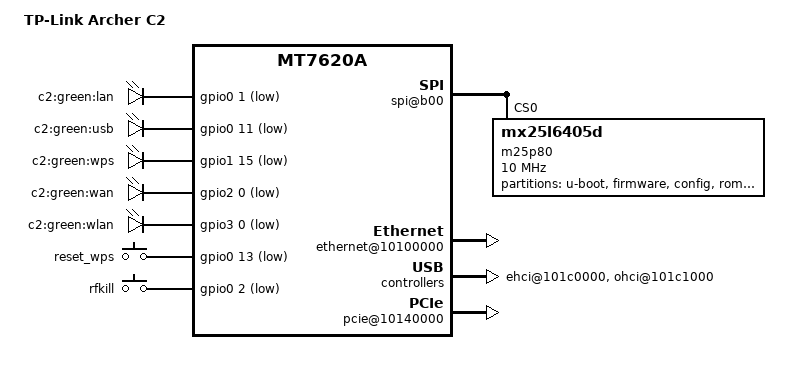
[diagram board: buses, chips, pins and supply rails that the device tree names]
/dts-v1/;

/include/ "mt7620a.dtsi"

/ {
	compatible = "ralink,mt7620a-soc";
	model = "TP-Link Archer C2";

	chosen {
		bootargs = "console=ttyS0,115200";
	};

	palmbus@10000000 {

		spi@b00 {
			status = "okay";

			m25p80@0 {
				#address-cells = <1>;
				#size-cells = <1>;
				compatible = "mx25l6405d";
				reg = <0 0>;
				linux,modalias = "m25p80", "mx25l6405d";
				spi-max-frequency = <10000000>;

				partition@0 {
					label = "u-boot";
					reg = <0x0 0x20000>;
					read-only;
				};

				partition@20000 {
					label = "firmware";
					reg = <0x20000 0x7a0000>;
				};

				partition@7c0000 {
					label = "config";
					reg = <0x7c0000 0x10000>;
				};

				rom: partition@7d0000 {
					label = "rom";
					reg = <0x7d0000 0x10000>;
				};

				partition@7e0000 {
					label = "romfile";
					reg = <0x7e0000 0x10000>;
				};

				radio: partition@7f0000 {
					label = "radio";
					reg = <0x7f0000 0x10000>;
				};
			};
		};
	};

	pinctrl {
		state_default: pinctrl0 {
			gpio {
				ralink,group = "i2c", "uartf", "wled", "nd_sd", "ephy", "spi refclk";
				ralink,function = "gpio";
			};
		};
	};

	ethernet@10100000 {
		status = "okay";
		mtd-mac-address = <&rom 0xf100>;

		port@5 {
			status = "okay";
			mediatek,fixed-link = <1000 1 1 1>;
			phy-mode = "rgmii";
		};
	};

	rtl8367b {
		compatible = "rtl8367b";
		realtek,extif1 = <1 0 1 1 1 1 1 1 2>;
		realtek,cpu-port = <6>;
	};

	ehci@101c0000 {
		status = "okay";
	};

	ohci@101c1000 {
		status = "okay";
	};

	wmac@10180000 {
		ralink,mtd-eeprom = <&radio 0>;
		mtd-mac-address = <&rom 0xf100>;
	};

	pcie@10140000 {
		status = "okay";
	};

	gpio-leds { 
		compatible = "gpio-leds";

		lan {
			label = "c2:green:lan";
			gpios = <&gpio0 1 1>;
		};
		usb {
			label = "c2:green:usb";
			gpios = <&gpio0 11 1>;
		};
		wps {
			label = "c2:green:wps";
			gpios = <&gpio1 15 1>;
		};
		wan {
			label = "c2:green:wan";
			gpios = <&gpio2 0 1>;
		};
		wlan {
			label = "c2:green:wlan";
			gpios = <&gpio3 0 1>;
		};
	};

	gpio-keys {
		compatible = "gpio-keys";

		reset_wps { 
			label = "reset_wps"; 
			gpios = <&gpio0 13 1>; 
			linux,code = <0x198>; 
		}; 

		rfkill { 
			label = "rfkill"; 
			gpios = <&gpio0 2 1>; 
			linux,code = <0xf7>; 
		}; 
	};
};

&gpio1 {
	status = "okay";
};

&gpio2 {
	status = "okay";
};

&gpio3 {
	status = "okay";
};
